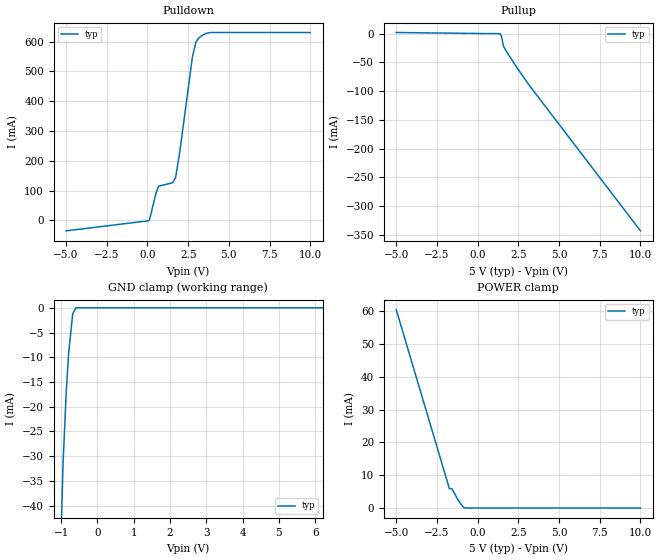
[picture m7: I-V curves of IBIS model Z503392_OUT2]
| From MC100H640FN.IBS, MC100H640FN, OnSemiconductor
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| (C) COPYRIGHT 1993-2000
| MENTOR GRAPHICS CORPORATION
| ICX STANDARD LIBRARY, ICX PROJECT MODELING,
| ICX CUSTOM MODELING, ICX VENDOR MODEL
| ALL RIGHTS RESERVED.
| THE FOLLOWING ARE TRADEMARKS OR SERVICE MARKS OF
| MENTOR GRAPHICS CORPORATION:ICX (R), ICX STANDARD
| LIBRARY(R), ICX PROJECT MODELING(R), ICX CUSTOM
| MODELING(R), qualityIBIS(TM), MODELVIEWER(TM),
| AND MODELEDITOR(TM)
| ALL COPIES OF SOFTWARE, INCLUDING BUT NOT LIMITED TO
| ANY MODIFICATIONS, ENHANCEMENTS OR DERIVATIVE WORKS,
| MUST CONTAIN ALL MENTOR GRAPHICS CORPORATION'S
| NOTICES AND LEGENDS, INCLUDING THOSE EMBEDDED IN
| SOFTWARE AND THOSE AFFIXED TO SOFTWARE MEDIUM
| AND CONTAINER, AS RECEIVED FROM MENTOR GRAPHICS
| CORPORATION.
| Model Application Version 1.89 2/18/99.
[Model] Z503392_OUT2
Model_type Output
Vref=0.000V
Rref=500.0Mohms
Cref=25.00pF
Vmeas=1.500V
C_comp 2.000pF NA NA
| variable typ   min   max
[Voltage Range] 5.000V NA NA
[POWER Clamp Reference] 5.000V NA NA
[Pullup Reference] 5.000V NA NA
[Pulldown Reference] 0.000V NA NA
[GND Clamp Reference] 0.000V NA NA
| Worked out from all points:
|   slope of the pulldown table from 0 to 0.75 V, typ, clamps not added: 6.39 ohm
|   slope of the pullup table from 0 to 0.75 V, typ, clamps not added: 4.04 kohm
|   GND clamp passes 1 mA (typ) near -0.66 V on its own axis
|   POWER clamp passes 1 mA (typ) near -1.00 V on its own axis
[GND Clamp]
-5V       -1.985A    NA         NA
-1.166V   -99.93mA   NA         NA
-1.069V   -63.36mA   NA         NA
-945.1mV  -31.42mA   NA         NA
-859.4mV  -17.15mA   NA         NA
-790.9mV  -9.048mA   NA         NA
-678.5mV  -1.19mA    NA         NA
-593.7mV  0A         NA         NA
10V       0A         NA         NA
[Pulldown]
-5V       -34.96mA   NA         NA
128.3mV   2.935mA    NA         NA
527.9mV   91.98mA    NA         NA
683.6mV   114.9mA    NA         NA
1.548V    126.4mA    NA         NA
1.729V    144.2mA    NA         NA
1.978V    227.6mA    NA         NA
2.764V    549.2mA    NA         NA
2.97V     597.6mA    NA         NA
3.135V    611.4mA    NA         NA
3.874V    630.5mA    NA         NA
10V       630.5mA    NA         NA
[Pullup]
-5V       1.862mA    NA         NA
1.401V    -1.075mA   NA         NA
1.475V    -6.382mA   NA         NA
1.578V    -21.3mA    NA         NA
1.748V    -30.3mA    NA         NA
2.833V    -76.48mA   NA         NA
10V       -343.2mA   NA         NA
[POWER Clamp]
-5V       60.54mA    NA         NA
-1.88V    8.32mA     NA         NA
-1.74V    5.919mA    NA         NA
-1.601V   5.919mA    NA         NA
-1.562V   5.766mA    NA         NA
-1.211V   2.517mA    NA         NA
-1.03V    1.191mA    NA         NA
-850mV    117.3uA    NA         NA
-769mV    23.25uA    NA         NA
-512.7mV  0A         NA         NA
10V       0A         NA         NA
[Ramp]
| variable typ min max
dV/dt_r 2.064/2.718n NA NA
dV/dt_f 2.064/947.4p NA NA
R_load = 500.0Ohms
